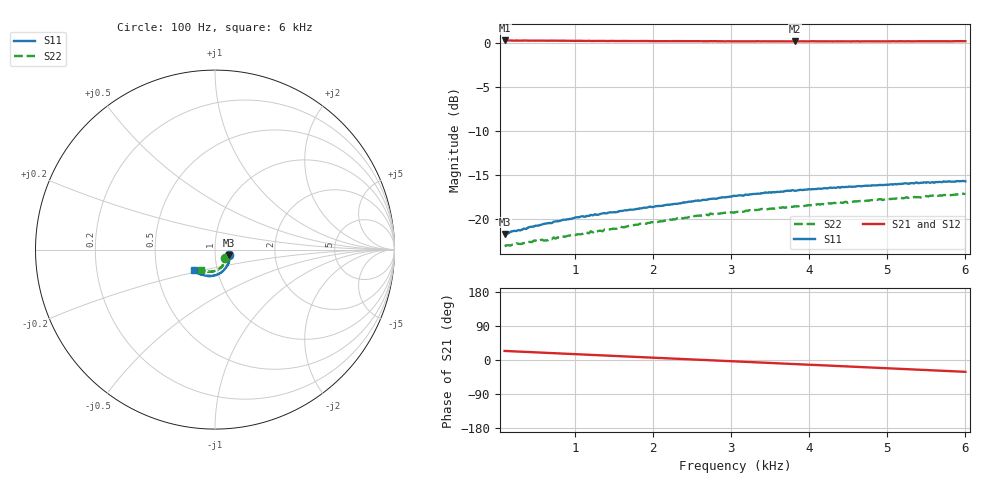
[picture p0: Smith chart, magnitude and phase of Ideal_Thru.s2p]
!Created with skrf (http://scikit-rf.org).
# Hz S RI R 50.0
!freq ReS11 ImS11 ReS21 ImS21 ReS12 ImS12 ReS22 ImS22
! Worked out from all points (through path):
!   236 points, 100 Hz to 6 kHz, reference 50 ohm
!   highest |S21| = 0.27 dB at 100 Hz (marker M1); lowest = 0.2 dB at 3.816 kHz (marker M2)
!   group delay of S21, straight-line fit = 25.9 us
!   lowest |S11| = -21.7 dB at 100 Hz (marker M3), VSWR 1.18, Z = 58.1 - j3.66 ohm
!   |S11| at or under -10 dB: start of sweep to end of sweep
!   |S22| runs from -23.1 to -17.1 dB; largest |S21 - S12| = 0.51
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100  0.0761 -0.0313  0.9431 0.4193  0.6338 0.8272  0.0533 -0.0457
501.7021  0.0791 -0.0468  0.9664 0.3546  0.6852 0.7831  0.0534 -0.0533
652.3404  0.0795 -0.0514  0.9737 0.3298  0.7042 0.7662  0.0513 -0.0557
727.6596  0.0791 -0.0554  0.9775 0.3189  0.7148 0.7562  0.0531 -0.0579
752.766  0.0793 -0.056  0.9792 0.3138  0.7182 0.7535  0.053 -0.0566
1104.255  0.0771 -0.0691  0.9927 0.2569  0.7574 0.7117  0.0518 -0.0646
1129.362  0.0761 -0.0696  0.9945 0.252  0.7607 0.708  0.0524 -0.0661
1179.574  0.0759 -0.0714  0.9973 0.2446  0.7676 0.7009  0.0514 -0.0653
1204.681  0.0763 -0.073  0.997 0.2402  0.7699 0.6983  0.0515 -0.0679
1355.319  0.0742 -0.0782  1.003 0.2152  0.787 0.6781  0.0504 -0.0689
1380.426  0.0737 -0.0791  1.004 0.212  0.7889 0.675  0.0508 -0.0709
1531.064  0.0702 -0.0839  1.007 0.1865  0.8041 0.6555  0.0493 -0.073
1581.277  0.0701 -0.0865  1.009 0.1791  0.8107 0.6473  0.0494 -0.0759
2083.404  0.0587 -0.1031  1.018 0.0954  0.8598 0.5797  0.0427 -0.087
2510.213  0.0459 -0.1173  1.022 0.0249  0.8958 0.5176  0.0358 -0.0978
2711.064  0.0395 -0.1235  1.021 -0.0082  0.9103 0.4876  0.031 -0.1005
2736.17  0.0388 -0.1242  1.022 -0.0124  0.9141 0.4844  0.0318 -0.1027
3062.553  0.0262 -0.1327  1.018 -0.0661  0.9352 0.4346  0.0226 -0.1072
3815.745  -0.0075 -0.1445  1.001 -0.1904  0.9782 0.3175  0.00172 -0.1182
4041.702  -0.0184 -0.1467  0.9964 -0.227  0.9902 0.2811  -0.00582 -0.1199
5020.851  -0.068 -0.1415  0.946 -0.3826  1.021 0.1223  -0.0421 -0.1227
6000  -0.1156 -0.1159  0.8747 -0.5294  1.027 -0.0415  -0.08 -0.1132
